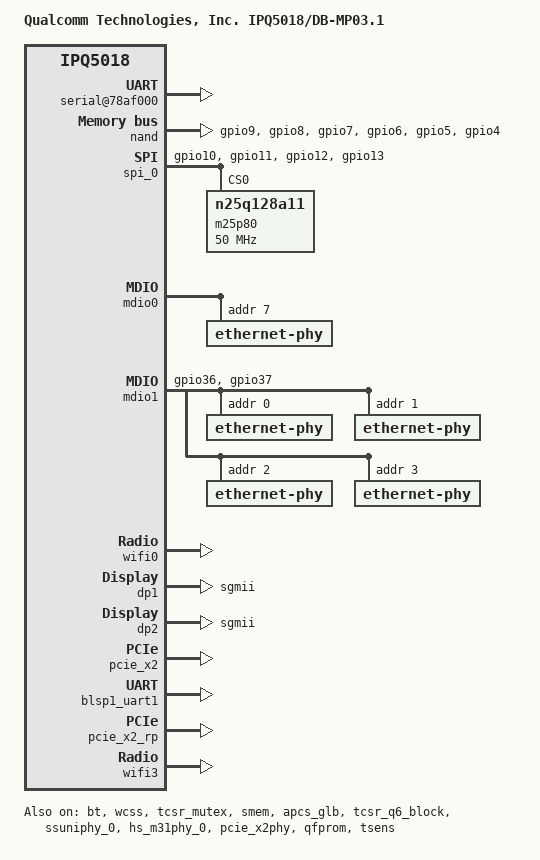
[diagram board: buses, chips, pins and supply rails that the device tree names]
/dts-v1/;
/* Copyright (c) 2018-2020, The Linux Foundation. All rights reserved.
 * Copyright (c) 2022 Qualcomm Innovation Center, Inc. All rights reserved.
 *
 * Permission to use, copy, modify, and/or distribute this software for any
 * purpose with or without fee is hereby granted, provided that the above
 * copyright notice and this permission notice appear in all copies.
 *
 * THE SOFTWARE IS PROVIDED "AS IS" AND THE AUTHOR DISCLAIMS ALL WARRANTIES
 * WITH REGARD TO THIS SOFTWARE INCLUDING ALL IMPLIED WARRANTIES OF
 * MERCHANTABILITY AND FITNESS. IN NO EVENT SHALL THE AUTHOR BE LIABLE FOR
 * ANY SPECIAL, DIRECT, INDIRECT, OR CONSEQUENTIAL DAMAGES OR ANY DAMAGES
 * WHATSOEVER RESULTING FROM LOSS OF USE, DATA OR PROFITS, WHETHER IN AN
 * ACTION OF CONTRACT, NEGLIGENCE OR OTHER TORTIOUS ACTION, ARISING OUT OF
 * OR IN CONNECTION WITH THE USE OR PERFORMANCE OF THIS SOFTWARE.
 */

#include "ipq5018.dtsi"

/ {
	#address-cells = <0x2>;
	#size-cells = <0x2>;
	model = "Qualcomm Technologies, Inc. IPQ5018/DB-MP03.1";
	compatible = "qcom,ipq5018-db-mp03.1", "qcom,ipq5018";
	interrupt-parent = <&intc>;

	aliases {
		sdhc1 = &sdhc_1; /* SDC1 eMMC slot */
		serial0 = &blsp1_uart1;
		serial1 = &blsp1_uart2;
		ethernet0 = "/soc/dp1";
		ethernet1 = "/soc/dp2";
	};

	chosen {
		bootargs = "console=ttyMSM0,115200,n8 rw init=/init";
	#ifdef __IPQ_MEM_PROFILE_256_MB__
		bootargs-append = " swiotlb=1";
	#else
		bootargs-append = " swiotlb=1 coherent_pool=2M";
	#endif
		stdout-path = "serial0";
	};
	reserved-memory {
	#ifdef __IPQ_MEM_PROFILE_256_MB__
	/*            256 MB Profile
	 * +=========+==============+========================+
	 * |        |              |                         |
	 * | Region | Start Offset |          Size           |
	 * |        |              |                         |
	 * +--------+--------------+-------------------------+
	 * |        |              |                         |
	 * |        |              |                         |
	 * |  NSS   |  0x40000000  |           8MB           |
	 * |        |              |                         |
	 * |        |              |                         |
	 * +--------+--------------+-------------------------+
	 * |        |              |                         |
	 * |        |              |                         |
	 * |        |              |                         |
	 * |        |              |                         |
	 * | Linux  |  0x40800000  | Depends on total memory |
	 * |        |              |                         |
	 * |        |              |                         |
	 * |        |              |                         |
	 * +        |              |                         |
	 * +--------+--------------+-------------------------+
	 * |        |              |                         |
	 * | uboot  |  0x4A600000  |           4MB           |
	 * |        |              |                         |
	 * +--------+--------------+-------------------------+
	 * |  SBL   |  0x4AA00000  |           1MB           |
	 * +--------+--------------+-------------------------+
	 * |  smem  |  0x4AB00000  |           1MB           |
	 * +--------+--------------+-------------------------+
	 * |        |              |                         |
	 * |   TZ   |  0x4AC00000  |           4MB           |
	 * |        |              |                         |
	 * +--------+--------------+-------------------------+
	 * |        |              |                         |
	 * |        |              |                         |
	 * |        |              |                         |
	 * |   Q6   |  0x4B000000  |          23MB           |
	 * |        |              |                         |
	 * |        |              |                         |
	 * |        |              |                         |
	 * +--------+--------------+-------------------------+
	 * | M3 Dump| 0x4C700000   |          1MB            |
	 * +--------+--------------+-------------------------+
	 * | QDSS   | 0x4C800000   |          1MB            |
	 * +--------+--------------+-------------------------+
	 * |        |              |                         |
	 * |QCN9000 |  0x4C900000  |          17MB           |
	 * |        |              |                         |
	 * +--------+--------------+-------------------------+
	 * |        |              |                         |
	 * |  MHI1  |  0x4DA00000  |           9MB           |
	 * |        |              |                         |
	 * +--------+--------------+-------------------------+
	 * |                                                 |
	 * |      Rest of the memory for Linux               |
	 * |                                                 |
	 * +=================================================+
	 */
		q6_region: wcnss@4b000000 {
			no-map;
			reg = <0x0 0x4b000000 0x0 0x01700000>;
		};

		m3_dump@4c700000 {
			no-map;
			reg = <0x0 0x4C700000 0x0 0x100000>;
		};

		q6_etr_region:q6_etr_dump@4c800000 {
			no-map;
			reg = <0x0 0x4c800000 0x0 0x100000>;
		};
		qcn9000_pcie0: qcn9000_pcie0@4c900000 {
			no-map;
			reg = <0x0 0x4C900000 0x0 0x01100000>;
		};

	#if defined(__CNSS2__)
		mhi_region1: dma_pool1@4da00000 {
			compatible = "shared-dma-pool";
			no-map;
			reg = <0x0 0x4da00000 0x0 0x00900000>;
		};
	#endif
	#else
	/*                      512 MB Profile
	 * +=========+==============+========================+
	 * |        |              |                         |
	 * | Region | Start Offset |          Size           |
	 * |        |              |                         |
	 * +--------+--------------+-------------------------+
	 * |        |              |                         |
	 * |        |              |                         |
	 * |  NSS   |  0x40000000  |          16MB           |
	 * |        |              |                         |
	 * |        |              |                         |
	 * +--------+--------------+-------------------------+
	 * |        |              |                         |
	 * |        |              |                         |
	 * |        |              |                         |
	 * |        |              |                         |
	 * | Linux  |  0x41000000  | Depends on total memory |
	 * |        |              |                         |
	 * |        |              |                         |
	 * |        |              |                         |
	 * |        |              |                         |
	 * +--------+--------------+-------------------------+
	 * |        |              |                         |
	 * | uboot  |  0x4A600000  |           4MB           |
	 * |        |              |                         |
	 * +--------+--------------+-------------------------+
	 * |  SBL   |  0x4AA00000  |           1MB           |
	 * +--------+--------------+-------------------------+
	 * |  smem  |  0x4AB00000  |           1MB           |
	 * +--------+--------------+-------------------------+
	 * |        |              |                         |
	 * |   TZ   |  0x4AC00000  |           4MB           |
	 * |        |              |                         |
	 * +--------+--------------+-------------------------+
	 * |        |              |                         |
	 * |        |              |                         |
	 * |        |              |                         |
	 * |   Q6   |  0x4B000000  |          24MB           |
	 * |        |              |                         |
	 * |        |              |                         |
	 * +--------+--------------+-------------------------+
	 * | M3 Dump|  0x4C800000  |           1MB           |
	 * +--------+--------------+-------------------------+
	 * |  QDSS  |  0x4C900000  |           1MB           |
	 * +--------+--------------+-------------------------+
	 * | caldb  |  0x4CA00000  |           2MB           |
	 * +--------+--------------+-------------------------+
	 * |        |              |                         |
	 * |QCN9000 |  0x4CC00000  |          30MB           |
	 * |        |              |                         |
	 * +--------+--------------+-------------------------+
	 * |        |              |                         |
	 * |  MHI1  |  0x4EA00000  |           9MB           |
	 * |        |              |                         |
	 * +--------+--------------+-------------------------+
	 * |                                                 |
	 * |      Rest of the memory for Linux               |
	 * |                                                 |
	 * +=================================================+
	 */
		q6_region: wcnss@4b000000 {
			no-map;
			reg = <0x0 0x4b000000 0x0 0x01800000>;
		};

		m3_dump@4c800000 {
			no-map;
			reg = <0x0 0x4c800000 0x0 0x100000>;
		};

		q6_etr_region:q6_etr_dump@4c900000 {
			no-map;
			reg = <0x0 0x4c900000 0x0 0x100000>;
		};

		q6_caldb_region:q6_caldb_region@4ca00000 {
			no-map;
			reg = <0x0 0x4ca00000 0x0 0x200000>;
		};

		qcn9000_pcie0: qcn9000_pcie0@4cc00000 {
			no-map;
			reg = <0x0 0x4CC00000 0x0 0x01E00000>;
		};

	#if defined(__CNSS2__)
		mhi_region1: dma_pool1@4ea00000 {
			compatible = "shared-dma-pool";
			no-map;
			reg = <0x0 0x4ea00000 0x0 0x00900000>;
		};
	#endif
	#endif
	};

	soc {
		serial@78af000 {
			status = "ok";
		};

		blsp1_uart2: serial@78b0000 {
			pinctrl-0 = <&blsp1_uart_pins>;
			pinctrl-names = "default";
		};

		qpic_bam: dma@7984000{
			status = "ok";
		};

		nand: qpic-nand@79b0000 {
			pinctrl-0 = <&qspi_nand_pins>;
			pinctrl-names = "default";
			status = "ok";
		};

		spi_0: spi@78b5000 { /* BLSP1 QUP0 */
			pinctrl-0 = <&blsp0_spi_pins>;
			pinctrl-names = "default";
			cs-select = <0>;
			status = "ok";

			m25p80@0 {
				#address-cells = <1>;
				#size-cells = <1>;
				reg = <0>;
				compatible = "n25q128a11";
				linux,modalias = "m25p80", "n25q128a11";
				spi-max-frequency = <50000000>;
				use-default-sizes;
			};
		};

		mdio0: mdio@88000 {
			status = "ok";

			ethernet-phy@0 {
				reg = <7>;
			};
		};

		mdio1: mdio@90000 {
			status = "ok";
			pinctrl-0 = <&mdio1_pins>;
			pinctrl-names = "default";
			phy-reset-gpio = <&tlmm 39 0>;

			ethernet-phy@0 {
				reg = <0>;
			};

			ethernet-phy@1 {
				reg = <1>;
			};

			ethernet-phy@2 {
				reg = <2>;
			};

			ethernet-phy@3 {
				reg = <3>;
			};
		};

		ess-instance {
			num_devices = <0x2>;
			ess-switch@0x39c00000 {
				compatible = "qcom,ess-switch-ipq50xx";
				device_id = <0>;
				switch_mac_mode = <0xf>; /* mac mode for uniphy instance*/
				cmnblk_clk = "internal_96MHz"; /* cmnblk clk*/
				qcom,port_phyinfo {
					port@0 {
						port_id = <1>;
						phy_address = <7>;
					};
					port@1 {
						port_id = <2>;
						forced-speed = <1000>;
						forced-duplex = <1>;
					};
				};
				led_source@0 {
					source = <0>;
					mode = "normal";
					speed = "all";
					blink_en = "enable";
					active = "high";
				};
			};
			ess-switch1@1 {
				compatible = "qcom,ess-switch-qca83xx";
				device_id = <1>;
				switch_access_mode = "mdio";
				mdio-bus = <&mdio1>;
				reset_gpio = <0x27>;
				switch_cpu_bmp = <0x40>;  /* cpu port bitmap */
				switch_lan_bmp = <0x1e>; /* lan port bitmap */
				switch_wan_bmp = <0x0>;  /* wan port bitmap */
				qca,ar8327-initvals = <
						0x00004 0x7600000   /* PAD0_MODE */
						0x00008 0x1000000   /* PAD5_MODE */
						0x0000c 0x80        /* PAD6_MODE */
						0x00010 0x2613a0    /* PORT6 FORCE MODE*/
						0x000e4 0xaa545     /* MAC_POWER_SEL */
						0x000e0 0xc74164de  /* SGMII_CTRL */
						0x0007c 0x4e        /* PORT0_STATUS */
						0x00094 0x4e        /* PORT6_STATUS */
				>;
				qcom,port_phyinfo {
					port@0 {
						port_id = <1>;
						phy_address = <0>;
					};
					port@1 {
						port_id = <2>;
						phy_address = <1>;
					};
					port@2 {
						port_id = <3>;
						phy_address = <2>;
					};
					port@3 {
						port_id = <4>;
						phy_address = <3>;
					};
				};
			};
		};

		wifi0: wifi@c000000 {
			qcom,bdf-addr = <0x4BA00000 0x4BA00000 0x4BA00000
						0x0 0x0 0x0>;
			qcom,caldb-addr = <0x4CA00000 0x4CA00000 0x4CA00000
						0x0 0x0 0x0>;
			qcom,caldb-size = <0x200000>;
			status = "ok";
		};

		dp1 {
			device_type = "network";
			compatible = "qcom,nss-dp";
			clocks = <&gcc GCC_SNOC_GMAC0_AXI_CLK>;
			clock-names = "nss-snoc-gmac-axi-clk";
			qcom,id = <1>;
			reg = <0x39C00000 0x10000>;
			interrupts = <GIC_SPI 101 IRQ_TYPE_LEVEL_HIGH>;
			qcom,mactype = <2>;
			qcom,link-poll = <1>;
			qcom,phy-mdio-addr = <7>;
			mdio-bus = <&mdio0>;
			local-mac-address = [000000000000];
			phy-mode = "sgmii";
		};

		dp2 {
			device_type = "network";
			compatible = "qcom,nss-dp";
			clocks = <&gcc GCC_SNOC_GMAC1_AXI_CLK>;
			clock-names = "nss-snoc-gmac-axi-clk";
			qcom,id = <2>;
			reg = <0x39D00000 0x10000>;
			interrupts = <GIC_SPI 109 IRQ_TYPE_LEVEL_HIGH>;
			qcom,mactype = <2>;
			local-mac-address = [000000000000];
			phy-mode = "sgmii";
		};

		ess-uniphy@98000 {
			status = "disabled";
		};

		qcom,sps {
			status = "disabled";
		};

		qcom,usbbam@8B04000 {
			status = "disabled";
		};

		qcom,diag@0 {
			status = "disabled";
		};

		rpm_etm0 {
			status = "disabled";
		};

		lpass: lpass@0xA000000{
			status = "disabled";
		};

		pcm: pcm@0xA3C0000{
			pinctrl-0 = <&audio_pins>;
			pinctrl-names = "default";
			status = "disabled";
		};

		pcm_lb: pcm_lb@0 {
			status = "disabled";
		};
	};

	thermal-zones {
		status = "ok";
	};
};

&tlmm {
	pinctrl-0 = <&blsp0_uart_pins &phy_led_pins &pcie_x2_perst>;
	pinctrl-names = "default";

	blsp0_uart_pins: blsp0_uart_pins {
		blsp0_uart_rx_tx {
			pins = "gpio20", "gpio21";
			function = "blsp0_uart0";
			bias-disable;
		};
	};

	blsp1_uart_pins: blsp1_uart_pins {
		blsp1_uart_rx_tx {
			pins = "gpio23", "gpio25", "gpio24", "gpio26";
			function = "blsp1_uart2";
			bias-disable;
		};
	};

	blsp0_spi_pins: blsp0_spi_pins {
		mux {
			pins = "gpio10", "gpio11", "gpio12", "gpio13";
			function = "blsp0_spi";
			drive-strength = <2>;
			bias-disable;
		};
	};

	qspi_nand_pins: qspi_nand_pins {
		qspi_clock {
				pins = "gpio9";
				function = "qspi_clk";
				drive-strength = <8>;
				bias-disable;
			};
		qspi_cs {
				pins = "gpio8";
				function = "qspi_cs";
				drive-strength = <8>;
				bias-disable;
			};
		qspi_data_0 {
				pins = "gpio7";
				function = "qspi0";
				drive-strength = <8>;
				bias-disable;
			};
		qspi_data_1 {
				pins = "gpio6";
				function = "qspi1";
				drive-strength = <8>;
				bias-disable;
			};
		qspi_data_2 {
				pins = "gpio5";
				function = "qspi2";
				drive-strength = <8>;
				bias-disable;
			};
		qspi_data_3 {
				pins = "gpio4";
				function = "qspi3";
				drive-strength = <8>;
				bias-disable;
			};
	};

	mdio1_pins: mdio_pinmux {
		mux_0 {
			pins = "gpio36";
			function = "mdc";
			drive-strength = <8>;
			bias-pull-up;
		};

		mux_1 {
			pins = "gpio37";
			function = "mdio";
			drive-strength = <8>;
			bias-pull-up;
		};
	};

	phy_led_pins: phy_led_pins {
		gephy_led_pin {
			pins = "gpio46";
			function = "led0";
			drive-strength = <8>;
			bias-pull-down;
		};
	};

	i2c_pins: i2c_pins {
		i2c_scl {
			pins = "gpio25";
			function = "blsp2_i2c1";
			drive-strength = <8>;
			bias-disable;
		};

		i2c_sda {
			pins = "gpio26";
			function = "blsp2_i2c1";
			drive-strength = <8>;
			bias-disable;
		};
	};

	audio_pins: audio_pinmux {
		mux_1 {
			pins = "gpio24";
			function = "audio_rxbclk";
			drive-strength = <8>;
			bias-pull-down;
		};

		mux_2 {
			pins = "gpio25";
			function = "audio_rxfsync";
			drive-strength = <8>;
			bias-pull-down;
		};

		mux_3 {
			pins = "gpio26";
			function = "audio_rxd";
			drive-strength = <8>;
			bias-pull-down;
		};

		mux_4 {
			pins = "gpio27";
			function = "audio_txmclk";
			drive-strength = <8>;
			bias-pull-down;
		};

		mux_5 {
			pins = "gpio28";
			function = "audio_txbclk";
			drive-strength = <8>;
			bias-pull-down;
		};

		mux_6 {
			pins = "gpio29";
			function = "audio_txfsync";
			drive-strength = <8>;
			bias-pull-down;
		};

		mux_7 {
			pins = "gpio30";
			function = "audio_txd";
			drive-strength = <8>;
			bias-pull-down;
		};
	};

	pcie_x2_perst: pcie_x2_perst {
		pins = "gpio15";
		function = "gpio";
		drive-strength = <8>;
	};
};

&usb3 {
	qcom,multiplexed-phy;
	qcom,phy-mux-regs = <&tcsr_q6_block 0x2540>;
	status = "disabled";
};

&eud {
	status = "disabled";
};

&pcie_x1 {
	status = "disabled";
	perst-gpio = <&tlmm 18 1>;
};

&pcie_x2 {
	status = "ok";
	perst-gpio = <&tlmm 15 1>;
};

&bt {
	status = "ok";
};

&nss_crypto {
	status = "disabled";
	ce5_node {
		status = "disabled";
	};
};

&wcss {
	status = "ok";
};

&tcsr_mutex {
	status = "ok";
};

&smem {
	status = "ok";
};

&apcs_glb {
	status = "ok";
};

&tcsr_q6_block {
	status = "ok";
};

&q6v5_wcss {
	#ifdef __IPQ_MEM_PROFILE_256_MB__
		memory-region = <&q6_region>, <&q6_etr_region>;
	#else
		memory-region = <&q6_region>, <&q6_etr_region>,
				<&q6_caldb_region>;
	#endif
	/* IPQ5018 */
	q6v5_wcss_userpd1 {
		m3_firmware = "IPQ5018/m3_fw.mdt";
		interrupts-extended = <&wcss_smp2p_in 8 0>,
			<&wcss_smp2p_in 9 0>,
			<&wcss_smp2p_in 12 0>,
			<&wcss_smp2p_in 11 0>;
		interrupt-names ="fatal",
			"ready",
			"spawn_ack",
			"stop-ack";
		qcom,smem-states = <&wcss_smp2p_out 8>,
			<&wcss_smp2p_out 9>,
			<&wcss_smp2p_out 10>;
		qcom,smem-state-names = "shutdown",
			"stop",
			"spawn";
		qca,asid = <1>;
		qca,auto-restart;
		qca,int_radio;
	};
};

&i2c_0 {
	pinctrl-0 = <&i2c_pins>;
	pinctrl-names = "default";
	status = "disabled";
};

&tmc_etr {
	status = "disabled";
};

&replicator {
	status = "disabled";
};

&tmc_etf {
	status = "disabled";
};

&funnel_in0 {
	status = "disabled";
};

&funnel_center {
	status = "disabled";
};

&funnel_right {
	status = "disabled";
};

&funnel_mm {
	status = "disabled";
};

&funnel_apss0 {
	status = "disabled";
};

&etm0 {
	status = "disabled";
};

&etm1 {
	status = "disabled";
};

&stm {
	status = "disabled";
};

&cti0 {
	status = "disabled";
};

&cti1 {
	status = "disabled";
};

&cti2 {
	status = "disabled";
};

&cti3 {
	status = "disabled";
};

&cti4 {
	status = "disabled";
};

&cti5 {
	status = "disabled";
};

&cti6 {
	status = "disabled";
};

&cti7 {
	status = "disabled";
};

&cti8 {
	status = "disabled";
};

&cti9 {
	status = "disabled";
};

&cti10 {
	status = "disabled";
};

&cti11 {
	status = "disabled";
};

&cti12 {
	status = "disabled";
};

&cti13 {
	status = "disabled";
};

&cti14 {
	status = "disabled";
};

&cti15 {
	status = "disabled";
};

&cti_cpu0{
	status = "disabled";
};

&cti_cpu1{
	status = "disabled";
};

&cti_rpm_cpu0 {
	status = "disabled";
};

&csr {
	status = "disabled";
};

&dbgui {
	status = "disabled";
};

&tpda {
	status = "disabled";
};

&tpdm_dcc {
	status = "disabled";
};

&hwevent {
	status = "disabled";
};

&blsp1_uart1 {
	status = "ok";
};

&ssuniphy_0 {
	status = "ok";
};

&hs_m31phy_0 {
	status = "ok";
};

&pcie_x1phy {
	status = "disabled";
};

&pcie_x2phy {
	status = "ok";
};

&pcie_x1_rp {
	status = "disabled";

	mhi_0: qcom,mhi@0 {
		reg = <0 0 0 0 0 >;
	};
};

&pcie_x2_rp {
	status = "ok";

	mhi_1: qcom,mhi@1 {
		reg = <0 0 0 0 0 >;
		qrtr_instance_id = <0x20>;
		#address-cells = <0x2>;
		#size-cells = <0x2>;
#if defined(__CNSS2__)
		memory-region = <&mhi_region1>;
#endif
	};
};

&wifi0 {
	/* IPQ5018 */
	mem-region = <&q6_region>;
	qcom,board_id = <0x24>;
	status = "ok";
};

&wifi3 {
	/* QCN9000 5G */
	hremote_node = <&qcn9000_pcie0>;
	board_id = <0xa0>;
	status = "ok";
};

&qfprom {
	status = "ok";
};

&tsens {
	status = "ok";
};
